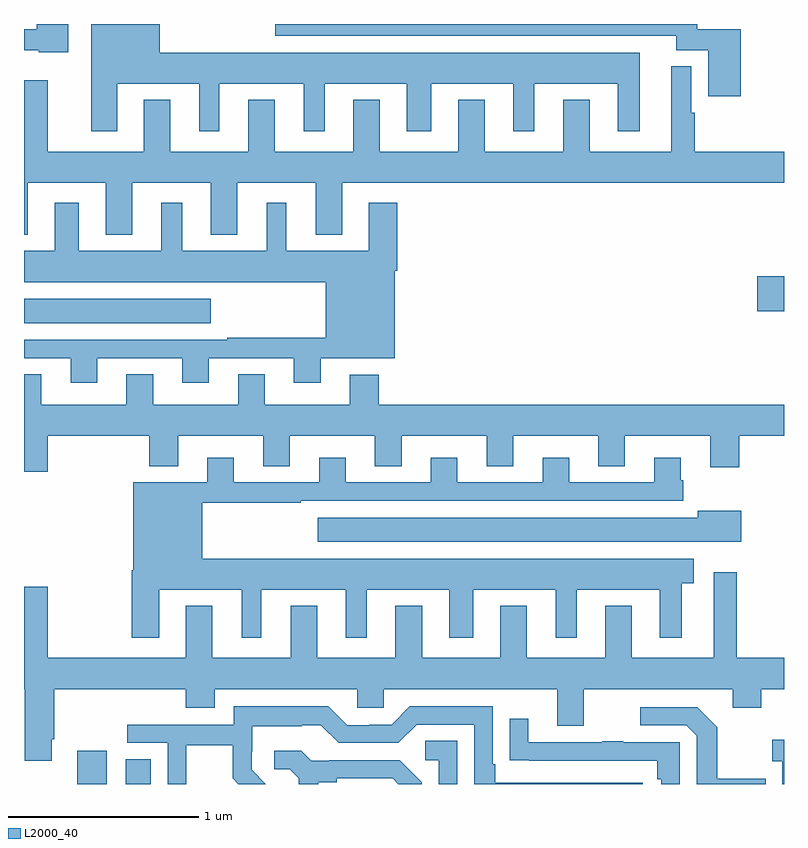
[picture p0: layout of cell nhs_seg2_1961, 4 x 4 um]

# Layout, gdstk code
import gdstk
lib = gdstk.Library(unit=1e-6, precision=1e-09)
def R(c, l, rs):  # rectangles x0, y0, x1, y1
    for r in rs: c.add(gdstk.rectangle(r[:2], r[2:], *l))
def P(c, l, *ps):  # polygons
    for p in ps: c.add(gdstk.Polygon(p, *l))
L2000_40 = (2000, 40)

nhs_seg2_1961 = lib.new_cell('nhs_seg2_1961')
R(nhs_seg2_1961, L2000_40, [(213.281,649.8,213.436,649.975), (213.536,649.8,213.667,649.931), (213,652.226,213.982,652.354), (216.858,652.289,217,652.472)])
P(nhs_seg2_1961, L2000_40, [(213.49,653.486),(213.923,653.486),(213.923,653.235),(214.027,653.235),(214.027,653.486),(214.472,653.486),(214.472,653.235),(214.582,653.235),(214.582,653.486),(215.015,653.486),(215.015,653.235),(215.143,653.235),(215.143,653.486),(215.576,653.486),(215.576,653.235),(215.686,653.235),(215.686,653.486),(216.125,653.486),(216.125,653.235),(216.241,653.235),(216.241,653.65),(213.715,653.65),(213.715,653.8),(213.353,653.8),(213.353,653.235),(213.49,653.235)],
  [(216.773,653.773),(216.544,653.773),(216.544,653.8),(214.323,653.8),(214.323,653.738),(216.434,653.738),(216.434,653.663),(216.602,653.663),(216.602,653.421),(216.773,653.421)],
  [(213.232,653.8),(213.067,653.8),(213.067,653.773),(213,653.773),(213,653.663),(213.078,653.663),(213.078,653.651),(213.232,653.651)],
  [(214.321,653.401),(214.181,653.401),(214.181,653.128),(213.769,653.128),(213.769,653.401),(213.629,653.401),(213.629,653.128),(213.124,653.128),(213.124,653.503),(213,653.503),(213,652.691),(213.019,652.691),(213.019,652.964),(213.431,652.964),(213.431,652.691),(213.571,652.691),(213.571,652.964),(213.983,652.964),(213.983,652.691),(214.123,652.691),(214.123,652.964),(214.535,652.964),(214.535,652.691),(214.675,652.691),(214.675,652.964),(217,652.964),(217,653.128),(216.529,653.128),(216.529,653.333),(216.511,653.333),(216.511,653.578),(216.407,653.578),(216.407,653.128),(215.977,653.128),(215.977,653.401),(215.837,653.401),(215.837,653.128),(215.425,653.128),(215.425,653.401),(215.285,653.401),(215.285,653.128),(214.873,653.128),(214.873,653.401),(214.733,653.401),(214.733,653.128),(214.321,653.128)],
  [(213.385,652.041),(213.833,652.041),(213.833,651.912),(213.973,651.912),(213.973,652.041),(214.421,652.041),(214.421,651.912),(214.561,651.912),(214.561,652.04),(214.951,652.04),(214.951,652.502),(214.964,652.502),(214.964,652.858),(214.814,652.858),(214.814,652.606),(214.381,652.606),(214.381,652.858),(214.277,652.858),(214.277,652.606),(213.832,652.606),(213.832,652.858),(213.722,652.858),(213.722,652.606),(213.289,652.606),(213.289,652.858),(213.161,652.858),(213.161,652.606),(213,652.606),(213,652.442),(214.589,652.442),(214.589,652.15),(214.069,652.15),(214.069,652.137),(213,652.137),(213,652.041),(213.245,652.041),(213.245,651.912),(213.385,651.912)],
  [(213.124,651.632),(213.659,651.632),(213.659,651.473),(213.811,651.473),(213.811,651.632),(214.259,651.632),(214.259,651.472),(214.399,651.472),(214.399,651.632),(214.847,651.632),(214.847,651.472),(214.987,651.472),(214.987,651.632),(215.435,651.632),(215.435,651.472),(215.575,651.472),(215.575,651.632),(216.023,651.632),(216.023,651.472),(216.163,651.472),(216.163,651.632),(216.611,651.632),(216.611,651.468),(216.764,651.468),(216.764,651.632),(217,651.632),(217,651.796),(214.868,651.796),(214.868,651.955),(214.715,651.955),(214.715,651.796),(214.267,651.796),(214.267,651.956),(214.127,651.956),(214.127,651.796),(213.679,651.796),(213.679,651.956),(213.539,651.956),(213.539,651.796),(213.091,651.796),(213.091,651.956),(213,651.956),(213,651.444),(213.124,651.444)],
  [(213.712,650.822),(214.145,650.822),(214.145,650.571),(214.249,650.571),(214.249,650.822),(214.694,650.822),(214.694,650.571),(214.804,650.571),(214.804,650.822),(215.237,650.822),(215.237,650.571),(215.365,650.571),(215.365,650.822),(215.798,650.822),(215.798,650.571),(215.908,650.571),(215.908,650.822),(216.347,650.822),(216.347,650.571),(216.463,650.571),(216.463,650.857),(216.526,650.857),(216.526,650.986),(213.937,650.986),(213.937,651.279),(214.457,651.279),(214.457,651.291),(216.47,651.291),(216.47,651.399),(216.457,651.399),(216.457,651.517),(216.317,651.517),(216.317,651.387),(215.869,651.387),(215.869,651.517),(215.729,651.517),(215.729,651.387),(215.281,651.387),(215.281,651.517),(215.141,651.517),(215.141,651.387),(214.693,651.387),(214.693,651.517),(214.553,651.517),(214.553,651.387),(214.105,651.387),(214.105,651.517),(213.965,651.517),(213.965,651.388),(213.575,651.388),(213.575,650.926),(213.568,650.926),(213.568,650.571),(213.712,650.571)],
  [(216.775,651.238),(216.545,651.238),(216.545,651.202),(214.545,651.202),(214.545,651.074),(216.775,651.074)],
  [(213.145,650.035),(213.158,650.035),(213.158,650.3),(213.851,650.3),(213.851,650.201),(214.003,650.201),(214.003,650.3),(214.755,650.3),(214.755,650.202),(214.893,650.202),(214.893,650.3),(215.807,650.3),(215.807,650.106),(215.947,650.106),(215.947,650.3),(216.731,650.3),(216.731,650.201),(216.879,650.201),(216.879,650.3),(217,650.3),(217,650.464),(216.751,650.464),(216.751,650.914),(216.629,650.914),(216.629,650.464),(216.199,650.464),(216.199,650.737),(216.059,650.737),(216.059,650.464),(215.647,650.464),(215.647,650.737),(215.507,650.737),(215.507,650.464),(215.095,650.464),(215.095,650.737),(214.955,650.737),(214.955,650.464),(214.543,650.464),(214.543,650.737),(214.403,650.737),(214.403,650.464),(213.991,650.464),(213.991,650.737),(213.851,650.737),(213.851,650.464),(213.124,650.464),(213.124,650.839),(213,650.839),(213,650.3),(213.005,650.3),(213.005,649.923),(213.145,649.923)],
  [(213.855,650.004),(214.099,650.004),(214.099,649.829),(214.128,649.8),(214.272,649.8),(214.198,649.874),(214.198,649.971),(214.2,649.971),(214.2,650.105),(214.463,650.105),(214.463,650.109),(214.563,650.109),(214.656,650.016),(214.971,650.016),(215.067,650.112),(215.37,650.112),(215.37,649.8),(216.256,649.8),(216.256,649.806),(215.479,649.806),(215.479,649.903),(215.466,649.903),(215.466,650.208),(215.031,650.208),(214.935,650.112),(214.817,650.112),(214.817,650.109),(214.701,650.109),(214.601,650.209),(214.104,650.209),(214.104,650.112),(213.543,650.112),(213.543,650.016),(213.756,650.016),(213.756,649.8),(213.855,649.8)],
  [(216.905,649.827),(216.649,649.827),(216.649,650.099),(216.543,650.205),(216.243,650.205),(216.243,650.109),(216.486,650.109),(216.54,650.055),(216.54,649.8),(216.905,649.8)],
  [(216.45,650.019),(216.155,650.019),(216.155,650.024),(216.043,650.024),(216.043,650.019),(215.653,650.019),(215.653,650.143),(215.557,650.143),(215.557,649.924),(215.659,649.924),(215.659,649.923),(216.334,649.923),(216.334,649.826),(216.354,649.826),(216.354,649.8),(216.45,649.8)],
  [(217,650.032),(216.939,650.032),(216.939,649.919),(216.99,649.919),(216.99,649.8),(217,649.8)],
  [(215.28,650.027),(215.112,650.027),(215.112,649.926),(215.184,649.926),(215.184,649.8),(215.28,649.8)],
  [(214.549,649.808),(214.645,649.808),(214.645,649.83),(214.94,649.83),(214.97,649.8),(215.094,649.8),(215.094,649.81),(214.978,649.926),(214.606,649.926),(214.606,649.923),(214.512,649.923),(214.46,649.975),(214.317,649.975),(214.317,649.878),(214.398,649.878),(214.445,649.831),(214.445,649.8),(214.549,649.8)])

lib.write_gds('nhs_seg2_1961.gds')
